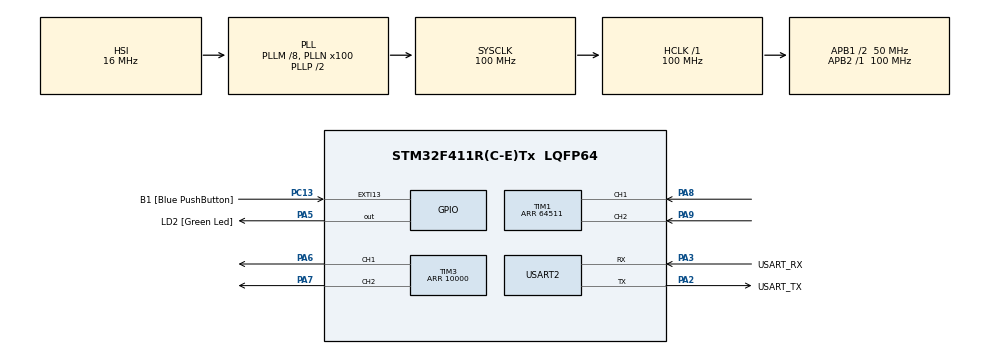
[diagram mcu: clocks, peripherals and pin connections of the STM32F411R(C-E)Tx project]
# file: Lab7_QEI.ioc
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Mcu.Family=STM32F4
RCC.CortexFreq_Value=100000000
PA14.GPIO_Label=TCK
TIM1.EncoderMode=TIM_ENCODERMODE_TI12
RCC.SYSCLKSource=RCC_SYSCLKSOURCE_PLLCLK
ProjectManager.StackSize=0x400
PH0\ -\ OSC_IN.Signal=RCC_OSC_IN
RCC.HCLKFreq_Value=100000000
RCC.APB2TimFreq_Value=100000000
TIM3.Period=10000
RCC.AHBFreq_Value=100000000
TIM3.Channel-PWM\ Generation1\ CH1=TIM_CHANNEL_1
NVIC.TIM1_TRG_COM_TIM11_IRQn=true\:0\:0\:false\:false\:true\:true\:true
RCC.HSE_VALUE=8000000
PC13-ANTI_TAMP.Signal=GPXTI13
TIM3.OCFastMode_PWM-PWM\ Generation2\ CH2=TIM_OCFAST_ENABLE
PC14-OSC32_IN.Mode=LSE-External-Oscillator
PA14.Mode=Serial_Wire
NVIC.TIM2_IRQn=true\:0\:0\:false\:false\:true\:true\:true
PA8.Signal=S_TIM1_CH1
SH.S_TIM3_CH1.0=TIM3_CH1,PWM Generation1 CH1
RCC.FLatency-AdvancedSettings=FLASH_LATENCY_3
Mcu.Package=LQFP64
TIM2.Prescaler=99
PA6.Signal=S_TIM3_CH1
USART2.VirtualMode=VM_ASYNC
PA2.GPIO_Label=USART_TX
RCC.APB1TimFreq_Value=100000000
TIM1.Period=64511
VP_TIM3_VS_ClockSourceINT.Mode=Internal
TIM3.OCFastMode_PWM-PWM\ Generation1\ CH1=TIM_OCFAST_ENABLE
PA3.Signal=USART2_RX
PB3.GPIO_Label=SWO
PC15-OSC32_OUT.Mode=LSE-External-Oscillator
TIM3.AutoReloadPreload=TIM_AUTORELOAD_PRELOAD_ENABLE
PC13-ANTI_TAMP.GPIO_Label=B1 [Blue PushButton]
PH1\ -\ OSC_OUT.Mode=HSE-External-Clock-Source
RCC.APB1CLKDivider=RCC_HCLK_DIV2
PC14-OSC32_IN.Signal=RCC_OSC32_IN
TIM1.AutoReloadPreload=TIM_AUTORELOAD_PRELOAD_ENABLE
PA13.Signal=SYS_JTMS-SWDIO
PA3.Mode=Asynchronous
PH0\ -\ OSC_IN.Mode=HSE-External-Clock-Source
SH.S_TIM1_CH1.0=TIM1_CH1,Encoder_Interface
ProjectManager.TargetToolchain=STM32CubeIDE
PA9.Signal=S_TIM1_CH2
PC15-OSC32_OUT.Signal=RCC_OSC32_OUT
PA5.Signal=GPIO_Output
SH.S_TIM3_CH2.0=TIM3_CH2,PWM Generation2 CH2
PH1\ -\ OSC_OUT.Signal=RCC_OSC_OUT
board=NUCLEO-F411RE
RCC.VCOOutputFreq_Value=200000000
NVIC.TIM3_IRQn=true\:0\:0\:false\:false\:true\:true\:true
RCC.APB2Freq_Value=100000000
SH.S_TIM1_CH2.0=TIM1_CH2,Encoder_Interface
VP_TIM2_VS_ClockSourceINT.Mode=Internal
TIM1.IC2Filter=2
PA13.Mode=Serial_Wire
Mcu.Name=STM32F411R(C-E)Tx
PA13.GPIO_Label=TMS
PA2.Signal=USART2_TX
RCC.48MHZClocksFreq_Value=50000000
PB3.Signal=SYS_JTDO-SWO
RCC.SYSCLKFreq_VALUE=100000000
PA5.GPIO_Label=LD2 [Green Led]
TIM1.IC1Filter=0
PC13-ANTI_TAMP.GPIO_ModeDefaultEXTI=GPIO_MODE_IT_FALLING
PA14.Signal=SYS_JTCK-SWCLK
ProjectManager.HeapSize=0x200
RCC.HSI_VALUE=16000000
NVIC.PriorityGroup=NVIC_PRIORITYGROUP_0
TIM3.Channel-PWM\ Generation2\ CH2=TIM_CHANNEL_2
RCC.PLLM=8
RCC.PLLN=100
PA2.Mode=Asynchronous
TIM3.TIM_MasterOutputTrigger=TIM_TRGO_UPDATE
RCC.APB1Freq_Value=50000000
PA3.GPIO_Label=USART_RX
PA7.Signal=S_TIM3_CH2

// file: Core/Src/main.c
/* USER CODE BEGIN Header */
/**
 ******************************************************************************
 * @file           : main.c
 * @brief          : Main program body
 ******************************************************************************
 * @attention
 *
 * <h2><center>&copy; Copyright (c) 2021 STMicroelectronics.
 * All rights reserved.</center></h2>
 *
 * This software component is licensed by ST under BSD 3-Clause license,
 * the "License"; You may not use this file except in compliance with the
 * License. You may obtain a copy of the License at:
 *                        opensource.org/licenses/BSD-3-Clause
 *
 ******************************************************************************
 */
/* USER CODE END Header */
#include "main.h"

TIM_HandleTypeDef htim1;
TIM_HandleTypeDef htim2;
TIM_HandleTypeDef htim3;

UART_HandleTypeDef huart2;

/* USER CODE BEGIN PV */
uint64_t _micros = 0;
float EncoderVel = 0;
float MotorVel = 0;
uint64_t TimestampRead = 0;
uint64_t TimestampControl = 0;
float PWMOut = 0;
float VelInput = 0;
float AvgCons = 1000;
uint16_t PeriodRead = 100;
uint16_t PeriodControl = 100;
uint16_t ReadPPR = 3072;
float E[3] = {0};
float C[3] = {0};
float U[2] = {0};
float Kp = 0;		//at 15 rpm
float Ki = 0;		//at 15 rpm
float Kd = 0;		//at 15 rpm
float GetP = 1.5;
float GetI = 0.001;
float GetD = 1.2;
float VelSet = 0;
float Setpoint = 0;
uint16_t WorkRange = 10000;
/* USER CODE END PV */

void SystemClock_Config(void);
static void MX_GPIO_Init(void);
static void MX_USART2_UART_Init(void);
static void MX_TIM1_Init(void);
static void MX_TIM2_Init(void);
static void MX_TIM3_Init(void);
/* USER CODE BEGIN PFP */
uint64_t micros();
float EncoderVelocity_Update();
float ControlMotor(float output);
float PWMCheck(float PWM);
/* USER CODE END PFP */

int main(void)
{

  /* MCU Configuration--------------------------------------------------------*/

  /* Reset of all peripherals, Initializes the Flash interface and the Systick. */
  HAL_Init();

  /* Configure the system clock */
  SystemClock_Config();

  /* Initialize all configured peripherals */
  MX_GPIO_Init();
  MX_USART2_UART_Init();
  MX_TIM1_Init();
  MX_TIM2_Init();
  MX_TIM3_Init();
  /* USER CODE BEGIN 2 */
	HAL_TIM_Base_Start_IT(&htim2);
	HAL_TIM_Encoder_Start(&htim1, TIM_CHANNEL_ALL);
	// start pwm
	HAL_TIM_Base_Start(&htim3);
	HAL_TIM_PWM_Start(&htim3, TIM_CHANNEL_1);
	HAL_TIM_PWM_Start(&htim3, TIM_CHANNEL_2);
  /* USER CODE END 2 */

  /* Infinite loop */
	while (1) {

    /* USER CODE BEGIN 3 */

		//Add LPF?
		if (micros() - TimestampRead >= PeriodRead) {
			TimestampRead = micros();
			EncoderVel = (EncoderVel * (AvgCons - 1) + EncoderVelocity_Update()) / AvgCons;
			MotorVel = (EncoderVel * 60) / ReadPPR; // rpm
		}
		if(micros() - TimestampControl >= PeriodControl)
		{
			TimestampControl = micros();
			Setpoint = VelSet * ReadPPR / 60;
			if(GetP != Kp || GetI != Ki || GetD != Kd)
			{
				Kp = GetP;
				Ki = GetI;
				Kd = GetD;
				C[0] = Kp + Ki + Kd;
				C[1] = Kp + (2 * Kd);
				C[2] = Kd;
				U[1] = 0;
				E[1] = 0;
				E[2] = 0;
			}
			E[0] = Setpoint - EncoderVel;
			U[0] = (C[0]*E[0]) - (C[1]*E[1]) + (C[2]*E[2]) + U[1];
			PWMOut = U[0];
			PWMOut = PWMCheck(PWMOut);
			ControlMotor(PWMOut);
			U[1] = U[0];
			E[2] = E[1];
			E[1] = E[0];
		}
	}
  /* USER CODE END 3 */
}

void SystemClock_Config(void)
{
  RCC_OscInitTypeDef RCC_OscInitStruct = {0};
  RCC_ClkInitTypeDef RCC_ClkInitStruct = {0};

  /** Configure the main internal regulator output voltage
  */
  __HAL_RCC_PWR_CLK_ENABLE();
  __HAL_PWR_VOLTAGESCALING_CONFIG(PWR_REGULATOR_VOLTAGE_SCALE1);
  /** Initializes the RCC Oscillators according to the specified parameters
  * in the RCC_OscInitTypeDef structure.
  */
  RCC_OscInitStruct.OscillatorType = RCC_OSCILLATORTYPE_HSI;
  RCC_OscInitStruct.HSIState = RCC_HSI_ON;
  RCC_OscInitStruct.HSICalibrationValue = RCC_HSICALIBRATION_DEFAULT;
  RCC_OscInitStruct.PLL.PLLState = RCC_PLL_ON;
  RCC_OscInitStruct.PLL.PLLSource = RCC_PLLSOURCE_HSI;
  RCC_OscInitStruct.PLL.PLLM = 8;
  RCC_OscInitStruct.PLL.PLLN = 100;
  RCC_OscInitStruct.PLL.PLLP = RCC_PLLP_DIV2;
  RCC_OscInitStruct.PLL.PLLQ = 4;
  if (HAL_RCC_OscConfig(&RCC_OscInitStruct) != HAL_OK)
  {
    Error_Handler();
  }
  /** Initializes the CPU, AHB and APB buses clocks
  */
  RCC_ClkInitStruct.ClockType = RCC_CLOCKTYPE_HCLK|RCC_CLOCKTYPE_SYSCLK
                              |RCC_CLOCKTYPE_PCLK1|RCC_CLOCKTYPE_PCLK2;
  RCC_ClkInitStruct.SYSCLKSource = RCC_SYSCLKSOURCE_PLLCLK;
  RCC_ClkInitStruct.AHBCLKDivider = RCC_SYSCLK_DIV1;
  RCC_ClkInitStruct.APB1CLKDivider = RCC_HCLK_DIV2;
  RCC_ClkInitStruct.APB2CLKDivider = RCC_HCLK_DIV1;

  if (HAL_RCC_ClockConfig(&RCC_ClkInitStruct, FLASH_LATENCY_3) != HAL_OK)
  {
    Error_Handler();
  }
}

static void MX_TIM1_Init(void)
{

  TIM_Encoder_InitTypeDef sConfig = {0};
  TIM_MasterConfigTypeDef sMasterConfig = {0};

  htim1.Instance = TIM1;
  htim1.Init.Prescaler = 0;
  htim1.Init.CounterMode = TIM_COUNTERMODE_UP;
  htim1.Init.Period = 64511;
  htim1.Init.ClockDivision = TIM_CLOCKDIVISION_DIV1;
  htim1.Init.RepetitionCounter = 0;
  htim1.Init.AutoReloadPreload = TIM_AUTORELOAD_PRELOAD_ENABLE;
  sConfig.EncoderMode = TIM_ENCODERMODE_TI12;
  sConfig.IC1Polarity = TIM_ICPOLARITY_RISING;
  sConfig.IC1Selection = TIM_ICSELECTION_DIRECTTI;
  sConfig.IC1Prescaler = TIM_ICPSC_DIV1;
  sConfig.IC1Filter = 0;
  sConfig.IC2Polarity = TIM_ICPOLARITY_RISING;
  sConfig.IC2Selection = TIM_ICSELECTION_DIRECTTI;
  sConfig.IC2Prescaler = TIM_ICPSC_DIV1;
  sConfig.IC2Filter = 2;
  if (HAL_TIM_Encoder_Init(&htim1, &sConfig) != HAL_OK)
  {
    Error_Handler();
  }
  sMasterConfig.MasterOutputTrigger = TIM_TRGO_RESET;
  sMasterConfig.MasterSlaveMode = TIM_MASTERSLAVEMODE_DISABLE;
  if (HAL_TIMEx_MasterConfigSynchronization(&htim1, &sMasterConfig) != HAL_OK)
  {
    Error_Handler();
  }

}

static void MX_TIM2_Init(void)
{

  TIM_ClockConfigTypeDef sClockSourceConfig = {0};
  TIM_MasterConfigTypeDef sMasterConfig = {0};

  htim2.Instance = TIM2;
  htim2.Init.Prescaler = 99;
  htim2.Init.CounterMode = TIM_COUNTERMODE_UP;
  htim2.Init.Period = 4294967295;
  htim2.Init.ClockDivision = TIM_CLOCKDIVISION_DIV1;
  htim2.Init.AutoReloadPreload = TIM_AUTORELOAD_PRELOAD_DISABLE;
  if (HAL_TIM_Base_Init(&htim2) != HAL_OK)
  {
    Error_Handler();
  }
  sClockSourceConfig.ClockSource = TIM_CLOCKSOURCE_INTERNAL;
  if (HAL_TIM_ConfigClockSource(&htim2, &sClockSourceConfig) != HAL_OK)
  {
    Error_Handler();
  }
  sMasterConfig.MasterOutputTrigger = TIM_TRGO_RESET;
  sMasterConfig.MasterSlaveMode = TIM_MASTERSLAVEMODE_DISABLE;
  if (HAL_TIMEx_MasterConfigSynchronization(&htim2, &sMasterConfig) != HAL_OK)
  {
    Error_Handler();
  }

}

static void MX_TIM3_Init(void)
{

  TIM_ClockConfigTypeDef sClockSourceConfig = {0};
  TIM_MasterConfigTypeDef sMasterConfig = {0};
  TIM_OC_InitTypeDef sConfigOC = {0};

  htim3.Instance = TIM3;
  htim3.Init.Prescaler = 0;
  htim3.Init.CounterMode = TIM_COUNTERMODE_UP;
  htim3.Init.Period = 10000;
  htim3.Init.ClockDivision = TIM_CLOCKDIVISION_DIV1;
  htim3.Init.AutoReloadPreload = TIM_AUTORELOAD_PRELOAD_ENABLE;
  if (HAL_TIM_Base_Init(&htim3) != HAL_OK)
  {
    Error_Handler();
  }
  sClockSourceConfig.ClockSource = TIM_CLOCKSOURCE_INTERNAL;
  if (HAL_TIM_ConfigClockSource(&htim3, &sClockSourceConfig) != HAL_OK)
  {
    Error_Handler();
  }
  if (HAL_TIM_PWM_Init(&htim3) != HAL_OK)
  {
    Error_Handler();
  }
  sMasterConfig.MasterOutputTrigger = TIM_TRGO_UPDATE;
  sMasterConfig.MasterSlaveMode = TIM_MASTERSLAVEMODE_DISABLE;
  if (HAL_TIMEx_MasterConfigSynchronization(&htim3, &sMasterConfig) != HAL_OK)
  {
    Error_Handler();
  }
  sConfigOC.OCMode = TIM_OCMODE_PWM1;
  sConfigOC.Pulse = 0;
  sConfigOC.OCPolarity = TIM_OCPOLARITY_HIGH;
  sConfigOC.OCFastMode = TIM_OCFAST_ENABLE;
  if (HAL_TIM_PWM_ConfigChannel(&htim3, &sConfigOC, TIM_CHANNEL_1) != HAL_OK)
  {
    Error_Handler();
  }
  if (HAL_TIM_PWM_ConfigChannel(&htim3, &sConfigOC, TIM_CHANNEL_2) != HAL_OK)
  {
    Error_Handler();
  }
  HAL_TIM_MspPostInit(&htim3);

}

static void MX_USART2_UART_Init(void)
{

  huart2.Instance = USART2;
  huart2.Init.BaudRate = 115200;
  huart2.Init.WordLength = UART_WORDLENGTH_8B;
  huart2.Init.StopBits = UART_STOPBITS_1;
  huart2.Init.Parity = UART_PARITY_NONE;
  huart2.Init.Mode = UART_MODE_TX_RX;
  huart2.Init.HwFlowCtl = UART_HWCONTROL_NONE;
  huart2.Init.OverSampling = UART_OVERSAMPLING_16;
  if (HAL_UART_Init(&huart2) != HAL_OK)
  {
    Error_Handler();
  }

}

static void MX_GPIO_Init(void)
{
  GPIO_InitTypeDef GPIO_InitStruct = {0};

  /* GPIO Ports Clock Enable */
  __HAL_RCC_GPIOC_CLK_ENABLE();
  __HAL_RCC_GPIOH_CLK_ENABLE();
  __HAL_RCC_GPIOA_CLK_ENABLE();
  __HAL_RCC_GPIOB_CLK_ENABLE();

  /*Configure GPIO pin Output Level */
  HAL_GPIO_WritePin(LD2_GPIO_Port, LD2_Pin, GPIO_PIN_RESET);

  /*Configure GPIO pin : B1_Pin */
  GPIO_InitStruct.Pin = B1_Pin;
  GPIO_InitStruct.Mode = GPIO_MODE_IT_FALLING;
  GPIO_InitStruct.Pull = GPIO_NOPULL;
  HAL_GPIO_Init(B1_GPIO_Port, &GPIO_InitStruct);

  /*Configure GPIO pin : LD2_Pin */
  GPIO_InitStruct.Pin = LD2_Pin;
  GPIO_InitStruct.Mode = GPIO_MODE_OUTPUT_PP;
  GPIO_InitStruct.Pull = GPIO_NOPULL;
  GPIO_InitStruct.Speed = GPIO_SPEED_FREQ_LOW;
  HAL_GPIO_Init(LD2_GPIO_Port, &GPIO_InitStruct);

}

/* USER CODE BEGIN 4 */
#define  HTIM_ENCODER htim1
#define  MAX_SUBPOSITION_OVERFLOW 32256
#define  MAX_ENCODER_PERIOD 64512

float EncoderVelocity_Update() {
	//Save Last state
	static uint32_t EncoderLastPosition = 0;
	static uint64_t EncoderLastTimestamp = 0;

	//read data
	uint32_t EncoderNowPosition = HTIM_ENCODER.Instance->CNT;
	uint64_t EncoderNowTimestamp = micros();

	int32_t EncoderPositionDiff;
	uint64_t EncoderTimeDiff;

	EncoderTimeDiff = EncoderNowTimestamp - EncoderLastTimestamp;
	EncoderPositionDiff = EncoderNowPosition - EncoderLastPosition;

	//compensate overflow and underflow
	if (EncoderPositionDiff >= MAX_SUBPOSITION_OVERFLOW) {
		EncoderPositionDiff -= MAX_ENCODER_PERIOD;
	} else if (-EncoderPositionDiff >= MAX_SUBPOSITION_OVERFLOW) {
		EncoderPositionDiff += MAX_ENCODER_PERIOD;
	}

	//Update Position and time
	EncoderLastPosition = EncoderNowPosition;
	EncoderLastTimestamp = EncoderNowTimestamp;

	//Calculate velocity
	//EncoderTimeDiff is in uS
	return (EncoderPositionDiff * 1000000) / (float) EncoderTimeDiff;

}

void HAL_TIM_PeriodElapsedCallback(TIM_HandleTypeDef *htim) {
	if (htim == &htim2) {
		_micros += 4294967295;
	}
}
uint64_t micros() {
	return _micros + htim2.Instance->CNT;
}
float PWMCheck(float PWM)
{
	if(PWM > WorkRange)
		{
		PWM = WorkRange;
	} else if (PWM < (-1 * WorkRange)) {
		PWM = (-1 * WorkRange);
	}
	return PWM;
}
float ControlMotor(float output) {
	if (output > 0) {
		if (output > 10000) {
			output = 10000;
		}
		__HAL_TIM_SET_COMPARE(&htim3, TIM_CHANNEL_1, output);
		__HAL_TIM_SET_COMPARE(&htim3, TIM_CHANNEL_2, 0);
	} else {
		if (output < -10000) {
			output = -10000;
		}
		__HAL_TIM_SET_COMPARE(&htim3, TIM_CHANNEL_1, 0);
		__HAL_TIM_SET_COMPARE(&htim3, TIM_CHANNEL_2, output * (-1));
	}
}
/* USER CODE END 4 */

void Error_Handler(void)
{
	__disable_irq();
	while (1) {
	}
}

/************************ (C) COPYRIGHT STMicroelectronics *****END OF FILE****/
